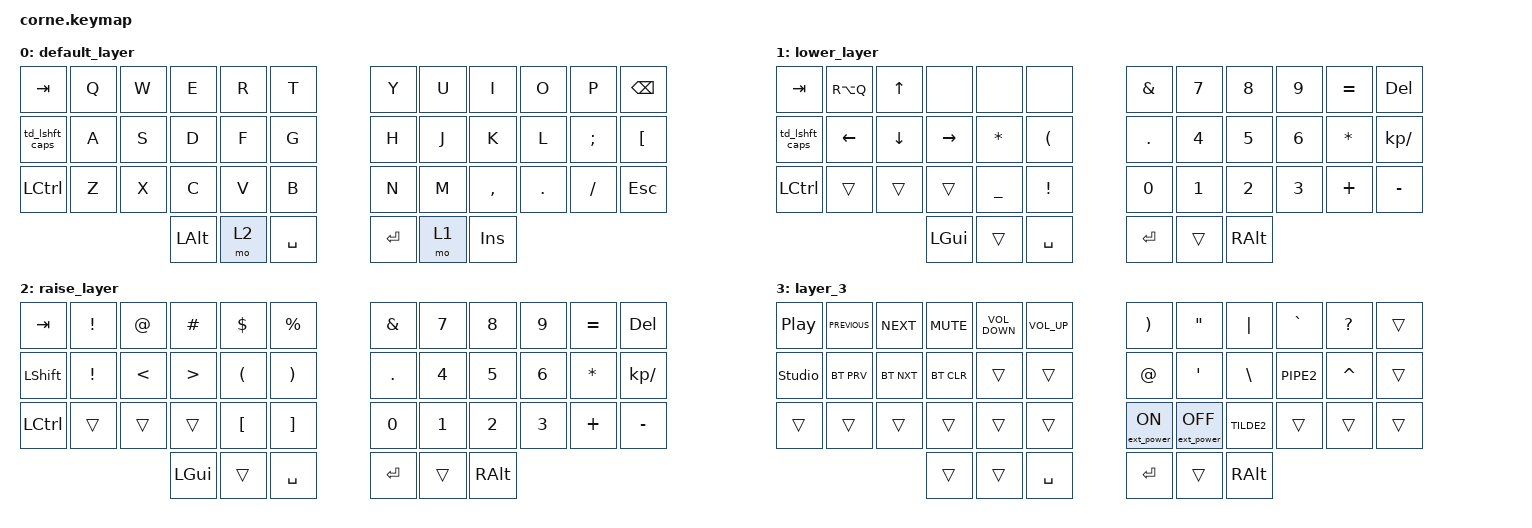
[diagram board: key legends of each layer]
#include <behaviors.dtsi>
#include <dt-bindings/zmk/bt.h>
#include <dt-bindings/zmk/ext_power.h>
#include <dt-bindings/zmk/keys.h>

/ {
    combos {
        compatible = "zmk,combos";
        hj_asterisk {
            bindings = <&kp ASTERISK>;
            key-positions = <18 19>;
        };
        nm_plus {
            bindings = <&kp PLUS>;
            key-positions = <30 31>;
        };
    };

    behaviors {
        td_lshft_caps: td_lshft_caps {
            compatible = "zmk,behavior-tap-dance";
            label = "TD_LSHFT_CAPS";
            #binding-cells = <0>;
            tapping-term-ms = <200>;
            bindings = <&kp LSHFT>, <&kp CAPS>;
        };
    };

    keymap {
        compatible = "zmk,keymap";
        default_layer {
            bindings = <
&kp TAB         &kp Q  &kp W  &kp E     &kp R  &kp T        &kp Y    &kp U  &kp I       &kp O    &kp P     &kp BSPC
&td_lshft_caps  &kp A  &kp S  &kp D     &kp F  &kp G        &kp H    &kp J  &kp K       &kp L    &kp SEMI  &kp LBKT
&kp LCTRL       &kp Z  &kp X  &kp C     &kp V  &kp B        &kp N    &kp M  &kp COMMA   &kp DOT  &kp FSLH  &kp ESC
                          &kp LALT  &mo 2  &kp SPACE        &kp RET  &mo 1  &kp INSERT
            >;
        };
        lower_layer {
            bindings = <
&kp TAB         &kp RA(Q)           &kp UP_ARROW          &none              &none           &none                       &kp AMPERSAND        &kp NUMBER_7  &kp NUMBER_8  &kp NUMBER_9      &kp EQUAL       &kp DELETE
&td_lshft_caps  &kp LEFT_ARROW      &kp DOWN_ARROW       &kp RIGHT_ARROW     &kp ASTERISK    &kp LEFT_PARENTHESIS        &kp DOT              &kp NUMBER_4  &kp NUMBER_5  &kp NUMBER_6      &kp ASTERISK    &kp KP_DIVIDE
&kp LCTRL       &trans             &trans                &trans              &kp UNDERSCORE  &kp EXCL                    &kp NUMBER_0         &kp NUMBER_1  &kp NUMBER_2  &kp NUMBER_3      &kp PLUS  &kp MINUS
                                &kp LGUI  &trans          &kp SPACE                                                        &kp RET       &trans        &kp RALT
            >;
        };
        raise_layer {
            bindings = <
&kp TAB          &kp EXCLAMATION  &kp AT_SIGN  &kp HASH    &kp DOLLAR          &kp PERCENT                       &kp AMPERSAND        &kp NUMBER_7  &kp NUMBER_8  &kp NUMBER_9      &kp EQUAL       &kp DELETE
&kp LSHFT         &kp EXCL      &kp LESS_THAN  &kp GREATER_THAN  &kp LEFT_PARENTHESIS &kp RIGHT_PARENTHESIS    &kp DOT              &kp NUMBER_4  &kp NUMBER_5  &kp NUMBER_6      &kp ASTERISK    &kp KP_DIVIDE
&kp LCTRL         &trans          &trans      &trans      &kp LEFT_BRACKET   &kp RIGHT_BRACKET                   &kp NUMBER_0         &kp NUMBER_1  &kp NUMBER_2  &kp NUMBER_3      &kp PLUS        &kp MINUS
                                              &kp LGUI    &trans             &kp SPACE                           &kp RET          &trans           &kp RALT
            >;
        };
        layer_3 {
            bindings = <
&kp C_PLAY_PAUSE  &kp C_PREVIOUS  &kp C_NEXT      &kp C_MUTE  &kp C_VOLUME_DOWN  &kp C_VOLUME_UP           &kp RIGHT_PARENTHESIS  &kp DOUBLE_QUOTES  &kp PIPE       &kp GRAVE       &kp QUESTION      &trans
&studio_unlock    &bt BT_PRV      &bt BT_NXT     &bt BT_CLR  &trans              &trans                   &kp AT                 &kp SINGLE_QUOTE   &kp BSLH       &kp PIPE2       &kp CARET      &trans
&trans          &trans          &trans           &trans      &trans              &trans                   &ext_power EP_ON       &ext_power EP_OFF  &kp TILDE2         &trans          &trans      &trans
                                &trans      &trans      &kp SPACE                                        &kp ENTER              &trans             &kp RIGHT_ALT
            >;
        };
    };

    conditional_layers {
        compatible = "zmk,conditional-layers";
        extra_layer {
            if-layers = <1 2>;
            then-layer = <3>;
        };
    };
};
